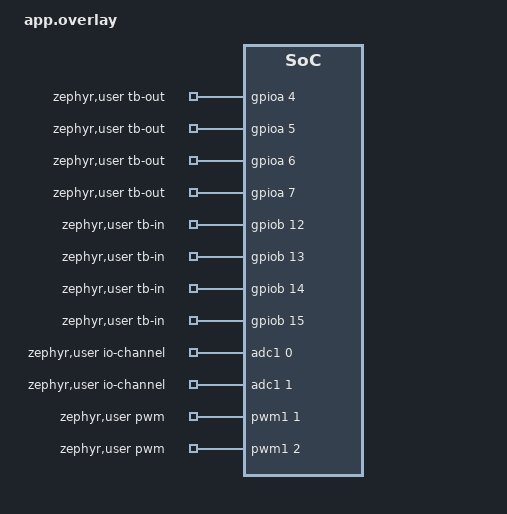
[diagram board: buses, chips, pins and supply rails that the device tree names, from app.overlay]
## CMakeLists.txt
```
# SPDX-License-Identifier: Apache-2.0
cmake_minimum_required(VERSION 3.20.0)

find_package(Zephyr REQUIRED HINTS $ENV{ZEPHYR_BASE})
project(blackpill_testbench)

target_sources(app PRIVATE
    src/main.c
    src/tb_shell.c
)
```

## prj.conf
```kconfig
# --- Zephyr Shell over UART (USART2) ---
CONFIG_SHELL=y
CONFIG_SHELL_BACKEND_SERIAL=y
CONFIG_SERIAL=y
CONFIG_UART_INTERRUPT_DRIVEN=y

# --- Hardware subsystems ---
CONFIG_GPIO=y
CONFIG_PWM=y
CONFIG_ADC=y

# --- Logging / diagnostics ---
CONFIG_LOG=y
CONFIG_SHELL_HELP=y

# Keep the shell prompt clean for machine parsing on the host side
CONFIG_SHELL_PROMPT_UART="uart> "
```

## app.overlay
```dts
/*
 * Testbench logical pin map for the STM32F401 Blackpill.
 * Physical pins -> logical aliases consumed by src/tb_shell.c via the
 * "zephyr,user" node. See docs/Hardware_Pinout.md for the authoritative map.
 *
 * TODO(firmware/Mostafa): verify pinctrl groups for USART2, TIM1, and ADC1
 * against your board variant (blackpill_f401cc / blackpill_f401ce).
 */

/ {
    zephyr,user {
        /* Digital outputs: tb_out_1..4  (PA4, PA5, PA6, PA7) */
        tb-out-gpios = <&gpioa 4 GPIO_ACTIVE_HIGH>,
                       <&gpioa 5 GPIO_ACTIVE_HIGH>,
                       <&gpioa 6 GPIO_ACTIVE_HIGH>,
                       <&gpioa 7 GPIO_ACTIVE_HIGH>;

        /* Digital inputs: tb_in_1..4  (PB12, PB13, PB14, PB15) */
        tb-in-gpios = <&gpiob 12 GPIO_ACTIVE_HIGH>,
                      <&gpiob 13 GPIO_ACTIVE_HIGH>,
                      <&gpiob 14 GPIO_ACTIVE_HIGH>,
                      <&gpiob 15 GPIO_ACTIVE_HIGH>;

        /* Analog inputs: tb_adc_1..2 (PA0 = ADC1_IN0, PA1 = ADC1_IN1) */
        io-channels = <&adc1 0>, <&adc1 1>;

        /* PWM outputs: tb_pwm_1..2 (PA8 = TIM1_CH1, PA9 = TIM1_CH2) */
        pwms = <&pwm1 1 PWM_HZ(1000) PWM_POLARITY_NORMAL>,
               <&pwm1 2 PWM_HZ(1000) PWM_POLARITY_NORMAL>;
    };
};

/* TODO(firmware/Mostafa): enable ADC1 channels + TIM1 PWM with correct pinctrl.
 * Sketch only - confirm node labels exist for your board's DTS.
 *
 * &adc1 {
 *     status = "okay";
 *     #address-cells = <1>;
 *     #size-cells = <0>;
 *     channel@0 { reg = <0>; zephyr,gain = "ADC_GAIN_1";
 *         zephyr,reference = "ADC_REF_INTERNAL"; zephyr,resolution = <12>; };
 *     channel@1 { reg = <1>; zephyr,gain = "ADC_GAIN_1";
 *         zephyr,reference = "ADC_REF_INTERNAL"; zephyr,resolution = <12>; };
 * };
 */
```

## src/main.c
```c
/*
 * Blackpill Testbench - firmware entry point.
 * The real work happens in the Zephyr Shell command handlers (tb_shell.c).
 * main() just brings the system up and logs readiness.
 */
#include <zephyr/kernel.h>
#include <zephyr/logging/log.h>

LOG_MODULE_REGISTER(testbench, LOG_LEVEL_INF);

int main(void)
{
    LOG_INF("Blackpill Testbench ready. Use the 'tb' shell command tree.");
    /* Shell runs in its own thread; nothing to do here. */
    return 0;
}
```

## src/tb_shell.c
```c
/*
 * Blackpill Testbench - Zephyr Shell command tree.
 *
 * Implements the `tb` root command described in docs/Protocol_Spec.md:
 *   tb gpio set <pin_alias> <0|1>
 *   tb gpio get <pin_alias>
 *   tb pwm  set <pin_alias> <freq_hz> <duty_percent>
 *   tb adc  read <pin_alias>
 *
 * Pin aliases resolve to the &zephyr_user node in app.overlay.
 *
 * STATUS: scaffold. Handlers parse + validate args and emit the protocol
 * response strings (OK / VAL: / ERROR:). Hardware calls are marked TODO.
 * Owner: Mostafa (firmware layer).
 */
#include <zephyr/kernel.h>
#include <zephyr/shell/shell.h>
#include <zephyr/drivers/gpio.h>
#include <zephyr/drivers/pwm.h>
#include <zephyr/drivers/adc.h>
#include <zephyr/devicetree.h>
#include <stdlib.h>

#define ZEPHYR_USER_NODE DT_PATH(zephyr_user)

/* ---- Resolve logical endpoints from devicetree (app.overlay) ----
 * TODO(firmware/Mostafa): populate these spec arrays with the *_DT_SPEC_GET_BY_IDX
 * macros and use them in the handlers below.
 *
 *   static const struct gpio_dt_spec tb_out[] = {
 *       GPIO_DT_SPEC_GET_BY_IDX(ZEPHYR_USER_NODE, tb_out_gpios, 0), ...
 *   };
 *   static const struct gpio_dt_spec tb_in[]  = { ... tb_in_gpios ... };
 *   static const struct pwm_dt_spec  tb_pwm[] = { PWM_DT_SPEC_GET_BY_IDX(...), ... };
 *   static const struct adc_dt_spec  tb_adc[] = { ADC_DT_SPEC_GET_BY_IDX(...), ... };
 */

/* Map a "tb_out_3" style alias to a 0-based index. Returns -1 on bad format. */
static int alias_index(const char *alias, const char *prefix)
{
    size_t plen = strlen(prefix);
    if (strncmp(alias, prefix, plen) != 0) {
        return -1;
    }
    int n = atoi(alias + plen);      /* "tb_out_" -> "3" */
    return (n >= 1) ? (n - 1) : -1;  /* 1-based alias -> 0-based index */
}

/* ---------------- GPIO ---------------- */
static int cmd_gpio_set(const struct shell *sh, size_t argc, char **argv)
{
    int idx = alias_index(argv[1], "tb_out_");
    if (idx < 0) {
        shell_print(sh, "ERROR: Pin alias not found.");
        return -EINVAL;
    }
    int state = atoi(argv[2]);
    if (state != 0 && state != 1) {
        shell_print(sh, "ERROR: state must be 0 or 1.");
        return -EINVAL;
    }
    /* TODO(firmware/Mostafa): gpio_pin_set_dt(&tb_out[idx], state); */
    shell_print(sh, "OK");
    return 0;
}

static int cmd_gpio_get(const struct shell *sh, size_t argc, char **argv)
{
    int idx = alias_index(argv[1], "tb_in_");
    if (idx < 0) {
        shell_print(sh, "ERROR: Pin alias not found.");
        return -EINVAL;
    }
    int val = 0; /* TODO: val = gpio_pin_get_dt(&tb_in[idx]); */
    shell_print(sh, "VAL: %d", val);
    return 0;
}

/* ---------------- PWM ---------------- */
static int cmd_pwm_set(const struct shell *sh, size_t argc, char **argv)
{
    int idx = alias_index(argv[1], "tb_pwm_");
    if (idx < 0) {
        shell_print(sh, "ERROR: Pin alias not found.");
        return -EINVAL;
    }
    uint32_t freq = strtoul(argv[2], NULL, 10);
    uint32_t duty = strtoul(argv[3], NULL, 10);
    if (freq == 0 || duty > 100) {
        shell_print(sh, "ERROR: invalid frequency or duty cycle.");
        return -EINVAL;
    }
    /* TODO(firmware/Mostafa): convert freq+duty to period/pulse ns and call
     * pwm_set_dt(&tb_pwm[idx], period_ns, pulse_ns); */
    shell_print(sh, "OK");
    return 0;
}

/* ---------------- ADC ---------------- */
static int cmd_adc_read(const struct shell *sh, size_t argc, char **argv)
{
    int idx = alias_index(argv[1], "tb_adc_");
    if (idx < 0) {
        shell_print(sh, "ERROR: Pin alias not found.");
        return -EINVAL;
    }
    int millivolts = 0; /* TODO: adc_read_dt + adc_raw_to_millivolts_dt(&tb_adc[idx], ...) */
    shell_print(sh, "VAL: %d mV", millivolts);
    return 0;
}

/* ---------------- Command tree registration ---------------- */
SHELL_STATIC_SUBCMD_SET_CREATE(sub_gpio,
    SHELL_CMD_ARG(set, NULL, "set <pin_alias> <0|1>", cmd_gpio_set, 3, 0),
    SHELL_CMD_ARG(get, NULL, "get <pin_alias>",       cmd_gpio_get, 2, 0),
    SHELL_SUBCMD_SET_END
);
SHELL_STATIC_SUBCMD_SET_CREATE(sub_pwm,
    SHELL_CMD_ARG(set, NULL, "set <pin_alias> <freq_hz> <duty_pct>", cmd_pwm_set, 4, 0),
    SHELL_SUBCMD_SET_END
);
SHELL_STATIC_SUBCMD_SET_CREATE(sub_adc,
    SHELL_CMD_ARG(read, NULL, "read <pin_alias>", cmd_adc_read, 2, 0),
    SHELL_SUBCMD_SET_END
);
SHELL_STATIC_SUBCMD_SET_CREATE(sub_tb,
    SHELL_CMD(gpio, &sub_gpio, "Digital I/O commands", NULL),
    SHELL_CMD(pwm,  &sub_pwm,  "PWM output commands",  NULL),
    SHELL_CMD(adc,  &sub_adc,  "Analog input commands", NULL),
    SHELL_SUBCMD_SET_END
);
SHELL_CMD_REGISTER(tb, &sub_tb, "Blackpill Testbench control", NULL);
```
